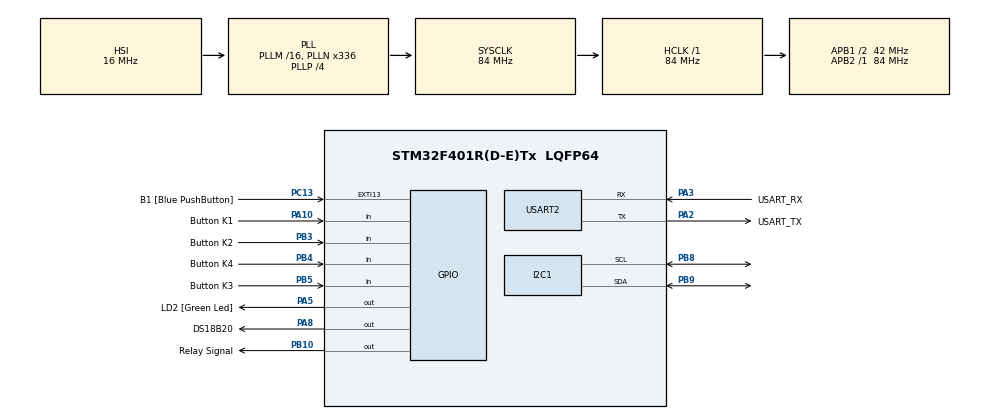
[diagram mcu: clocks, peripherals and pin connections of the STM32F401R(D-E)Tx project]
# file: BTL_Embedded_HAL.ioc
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I2C1.I2C_Mode=I2C_Standard
Mcu.Family=STM32F4
Mcu.Name=STM32F401R(D-E)Tx
Mcu.Package=LQFP64
NVIC.PriorityGroup=NVIC_PRIORITYGROUP_4
PA10.GPIO_Label=Button K1
PA10.Signal=GPIO_Input
PA13.GPIO_Label=TMS
PA13.Signal=SYS_JTMS-SWDIO
PA14.GPIO_Label=TCK
PA14.Signal=SYS_JTCK-SWCLK
PA2.GPIO_Label=USART_TX
PA2.GPIO_Mode=GPIO_MODE_AF_PP
PA2.GPIO_PuPd=GPIO_NOPULL
PA2.GPIO_Speed=GPIO_SPEED_FREQ_LOW
PA2.Mode=Asynchronous
PA2.Signal=USART2_TX
PA3.GPIO_Label=USART_RX
PA3.GPIO_Mode=GPIO_MODE_AF_PP
PA3.GPIO_PuPd=GPIO_NOPULL
PA3.GPIO_Speed=GPIO_SPEED_FREQ_LOW
PA3.Mode=Asynchronous
PA3.Signal=USART2_RX
PA5.GPIO_Label=LD2 [Green Led]
PA5.GPIO_Mode=GPIO_MODE_OUTPUT_PP
PA5.GPIO_PuPd=GPIO_NOPULL
PA5.GPIO_Speed=GPIO_SPEED_FREQ_LOW
PA5.Signal=GPIO_Output
PA8.GPIO_Label=DS18B20
PA8.Signal=GPIO_Output
PB10.GPIO_Label=Relay Signal
PB10.GPIO_ModeDefaultOutputPP=GPIO_MODE_OUTPUT_OD
PB10.GPIO_PuPd=GPIO_NOPULL
PB10.GPIO_Speed=GPIO_SPEED_FREQ_HIGH
PB10.PinState=GPIO_PIN_SET
PB10.Signal=GPIO_Output
PB3.GPIO_Label=Button K2
PB3.Signal=GPIO_Input
PB4.GPIO_Label=Button K4
PB4.Signal=GPIO_Input
PB5.GPIO_Label=Button K3
PB5.Signal=GPIO_Input
PB8.Mode=I2C
PB8.Signal=I2C1_SCL
PB9.Mode=I2C
PB9.Signal=I2C1_SDA
PC13-ANTI_TAMP.GPIO_Label=B1 [Blue PushButton]
PC13-ANTI_TAMP.GPIO_ModeDefaultEXTI=GPIO_MODE_IT_FALLING
PC13-ANTI_TAMP.GPIO_PuPd=GPIO_NOPULL
PC13-ANTI_TAMP.Signal=GPXTI13
PC14-OSC32_IN.Signal=RCC_OSC32_IN
PC15-OSC32_OUT.Signal=RCC_OSC32_OUT
PH0\ -\ OSC_IN.Mode=HSE-External-Clock-Source
PH0\ -\ OSC_IN.Signal=RCC_OSC_IN
PH1\ -\ OSC_OUT.Mode=HSE-External-Clock-Source
PH1\ -\ OSC_OUT.Signal=RCC_OSC_OUT
ProjectManager.HeapSize=0x200
ProjectManager.StackSize=0x400
ProjectManager.TargetToolchain=STM32CubeIDE
RCC.48MHZClocksFreq_Value=48000000
RCC.AHBFreq_Value=84000000
RCC.APB1CLKDivider=RCC_HCLK_DIV2
RCC.APB1Freq_Value=42000000
RCC.APB1TimFreq_Value=84000000
RCC.APB2Freq_Value=84000000
RCC.APB2TimFreq_Value=84000000
RCC.CortexFreq_Value=84000000
RCC.HCLKFreq_Value=84000000
RCC.HSE_VALUE=8000000
RCC.HSI_VALUE=16000000
RCC.PLLN=336
RCC.PLLP=RCC_PLLP_DIV4
RCC.PLLQ=7
RCC.SYSCLKFreq_VALUE=84000000
RCC.SYSCLKSource=RCC_SYSCLKSOURCE_PLLCLK
RCC.VCOOutputFreq_Value=336000000
TIM1.AutoReloadPreload=TIM_AUTORELOAD_PRELOAD_DISABLE
TIM1.Period=0xffff-1
TIM1.Prescaler=84-1
USART2.VirtualMode=VM_ASYNC
VP_TIM1_VS_ClockSourceINT.Mode=Internal
board=NUCLEO-F401RE

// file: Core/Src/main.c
/* USER CODE BEGIN Header */
/**
  ******************************************************************************
  * @file           : main.c
  * @brief          : Main program body
  ******************************************************************************
  * @attention
  *
  * Copyright (c) 2025 STMicroelectronics.
  * All rights reserved.
  *
  * This software is licensed under terms that can be found in the LICENSE file
  * in the root directory of this software component.
  * If no LICENSE file comes with this software, it is provided AS-IS.
  *
  ******************************************************************************
  */
/* USER CODE END Header */
#include "main.h"
#include <stdio.h>
#include "i2c-lcd.h"
#include "stm32f4xx_hal_exti.h"

I2C_HandleTypeDef hi2c1;

TIM_HandleTypeDef htim1;

UART_HandleTypeDef huart2;

/* USER CODE BEGIN PV */
uint8_t Temp_byte1, Temp_byte2;
uint16_t TEMP;
uint16_t Temperature = 0;
uint8_t Presence = 0;
uint8_t ConfigFlag = 0;
uint8_t ClearFlag = 0; // 0: Not Clear Yet , 1: Already Clear
int16_t DesiredTemp = 32;   // nhiệt độ mong muốn, mặc định 32°C
/* USER CODE END PV */

void SystemClock_Config(void);
static void MX_GPIO_Init(void);
static void MX_USART2_UART_Init(void);
static void MX_I2C1_Init(void);
static void MX_TIM1_Init(void);
/* USER CODE BEGIN PFP */
void delay_us (uint16_t us);
void Set_Pin_Output (GPIO_TypeDef *GPIOx, uint16_t GPIO_Pin);
void Set_Pin_Input (GPIO_TypeDef *GPIOx, uint16_t GPIO_Pin);
uint8_t DS18B20_Start (void);
void DS18B20_Write (uint8_t data);
uint8_t DS18B20_Read (void);
void Display_Temp (uint16_t Temp);
/* USER CODE END PFP */

int main(void)
{

  /* MCU Configuration--------------------------------------------------------*/

  /* Reset of all peripherals, Initializes the Flash interface and the Systick. */
  HAL_Init();

  /* Configure the system clock */
  SystemClock_Config();

  /* Initialize all configured peripherals */
  MX_GPIO_Init();
  MX_USART2_UART_Init();
  MX_I2C1_Init();
  MX_TIM1_Init();
  /* USER CODE BEGIN 2 */
  HAL_TIM_Base_Start(&htim1);
  HD44780_Init(2);
  HD44780_Clear();
  HD44780_SetCursor(0,0);
  HD44780_PrintStr("INITIALISING>>>>");
  HAL_Delay(2000);
  HD44780_Clear();

  /* USER CODE END 2 */

  /* Infinite loop */
  /* USER CODE BEGIN WHILE */
  while (1)
  {
      if (ConfigFlag == 0) // Not in config mode
      {
          ClearFlag = 0;  // chuẩn bị cho lần vào config tiếp theo

          Presence = DS18B20_Start();
          DS18B20_Write(0xCC);  // skip ROM
          DS18B20_Write(0x44);  // convert t

          Presence = DS18B20_Start();
          DS18B20_Write(0xCC);  // skip ROM
          DS18B20_Write(0xBE);  // Read Scratch-pad

          Temp_byte1 = DS18B20_Read();
          Temp_byte2 = DS18B20_Read();
          TEMP = ((Temp_byte2 << 8))|Temp_byte1;
          Temperature = (float)TEMP/16.0;  // resolution is 0.0625

          HAL_Delay(500);
          Display_Temp(Temperature);

          // DÙNG NGƯỠNG DesiredTemp
          if (Temperature > DesiredTemp)
          {
              HAL_GPIO_WritePin(Relay_Signal_GPIO_Port, Relay_Signal_Pin, GPIO_PIN_RESET);
              HD44780_SetCursor(0,1);
              HD44780_PrintStr("Cooling Fan: ON ");
          }
          else
          {
              HAL_GPIO_WritePin(Relay_Signal_GPIO_Port, Relay_Signal_Pin, GPIO_PIN_SET);
              HD44780_SetCursor(0,1);
              HD44780_PrintStr("Cooling Fan: OFF");
          }
      }
      else   // CONFIG MODE
      {
          char buf[20];

          if (ClearFlag == 0)
          {
              HD44780_Clear();
              ClearFlag = 1;
          }

          // Dòng 1: tiêu đề
          HD44780_SetCursor(0,0);
          HD44780_PrintStr("Desired Temp");

          // Dòng 2: hiển thị giá trị đang set
          HD44780_SetCursor(0,1);
          sprintf(buf, "Set: %3d C   ", (int)DesiredTemp);
          HD44780_PrintStr(buf);

          // ======= XỬ LÝ NÚT K2: TĂNG =======
          if (HAL_GPIO_ReadPin(Button_K2_GPIO_Port, Button_K2_Pin) == GPIO_PIN_RESET)
          {
              if (DesiredTemp < 99)   // giới hạn trên, tuỳ bạn
                  DesiredTemp++;
              HAL_Delay(200);         // delay chống dội + tránh tăng quá nhanh
          }

          // ======= XỬ LÝ NÚT K3: GIẢM =======
          if (HAL_GPIO_ReadPin(Button_K3_GPIO_Port, Button_K3_Pin) == GPIO_PIN_RESET)
          {
              if (DesiredTemp > 0)    // giới hạn dưới
                  DesiredTemp--;
              HAL_Delay(200);
          }

          // ======= NÚT K4: XÁC NHẬN / THOÁT CONFIG =======
          if (HAL_GPIO_ReadPin(Button_K4_GPIO_Port, Button_K4_Pin) == GPIO_PIN_RESET)
          {
              ConfigFlag = 0;   // quay lại normal mode
              ClearFlag  = 0;   // để lần sau vào config sẽ clear lại
              HAL_Delay(200);
          }
      }
  }

  /* USER CODE END 3 */
}

void SystemClock_Config(void)
{
  RCC_OscInitTypeDef RCC_OscInitStruct = {0};
  RCC_ClkInitTypeDef RCC_ClkInitStruct = {0};

  /** Configure the main internal regulator output voltage
  */
  __HAL_RCC_PWR_CLK_ENABLE();
  __HAL_PWR_VOLTAGESCALING_CONFIG(PWR_REGULATOR_VOLTAGE_SCALE2);

  /** Initializes the RCC Oscillators according to the specified parameters
  * in the RCC_OscInitTypeDef structure.
  */
  RCC_OscInitStruct.OscillatorType = RCC_OSCILLATORTYPE_HSI;
  RCC_OscInitStruct.HSIState = RCC_HSI_ON;
  RCC_OscInitStruct.HSICalibrationValue = RCC_HSICALIBRATION_DEFAULT;
  RCC_OscInitStruct.PLL.PLLState = RCC_PLL_ON;
  RCC_OscInitStruct.PLL.PLLSource = RCC_PLLSOURCE_HSI;
  RCC_OscInitStruct.PLL.PLLM = 16;
  RCC_OscInitStruct.PLL.PLLN = 336;
  RCC_OscInitStruct.PLL.PLLP = RCC_PLLP_DIV4;
  RCC_OscInitStruct.PLL.PLLQ = 7;
  if (HAL_RCC_OscConfig(&RCC_OscInitStruct) != HAL_OK)
  {
    Error_Handler();
  }

  /** Initializes the CPU, AHB and APB buses clocks
  */
  RCC_ClkInitStruct.ClockType = RCC_CLOCKTYPE_HCLK|RCC_CLOCKTYPE_SYSCLK
                              |RCC_CLOCKTYPE_PCLK1|RCC_CLOCKTYPE_PCLK2;
  RCC_ClkInitStruct.SYSCLKSource = RCC_SYSCLKSOURCE_PLLCLK;
  RCC_ClkInitStruct.AHBCLKDivider = RCC_SYSCLK_DIV1;
  RCC_ClkInitStruct.APB1CLKDivider = RCC_HCLK_DIV2;
  RCC_ClkInitStruct.APB2CLKDivider = RCC_HCLK_DIV1;

  if (HAL_RCC_ClockConfig(&RCC_ClkInitStruct, FLASH_LATENCY_2) != HAL_OK)
  {
    Error_Handler();
  }
}

static void MX_I2C1_Init(void)
{

  hi2c1.Instance = I2C1;
  hi2c1.Init.ClockSpeed = 100000;
  hi2c1.Init.DutyCycle = I2C_DUTYCYCLE_2;
  hi2c1.Init.OwnAddress1 = 0;
  hi2c1.Init.AddressingMode = I2C_ADDRESSINGMODE_7BIT;
  hi2c1.Init.DualAddressMode = I2C_DUALADDRESS_DISABLE;
  hi2c1.Init.OwnAddress2 = 0;
  hi2c1.Init.GeneralCallMode = I2C_GENERALCALL_DISABLE;
  hi2c1.Init.NoStretchMode = I2C_NOSTRETCH_DISABLE;
  if (HAL_I2C_Init(&hi2c1) != HAL_OK)
  {
    Error_Handler();
  }

}

static void MX_TIM1_Init(void)
{

  TIM_ClockConfigTypeDef sClockSourceConfig = {0};
  TIM_MasterConfigTypeDef sMasterConfig = {0};

  htim1.Instance = TIM1;
  htim1.Init.Prescaler = 84-1;
  htim1.Init.CounterMode = TIM_COUNTERMODE_UP;
  htim1.Init.Period = 0xffff-1;
  htim1.Init.ClockDivision = TIM_CLOCKDIVISION_DIV1;
  htim1.Init.RepetitionCounter = 0;
  htim1.Init.AutoReloadPreload = TIM_AUTORELOAD_PRELOAD_DISABLE;
  if (HAL_TIM_Base_Init(&htim1) != HAL_OK)
  {
    Error_Handler();
  }
  sClockSourceConfig.ClockSource = TIM_CLOCKSOURCE_INTERNAL;
  if (HAL_TIM_ConfigClockSource(&htim1, &sClockSourceConfig) != HAL_OK)
  {
    Error_Handler();
  }
  sMasterConfig.MasterOutputTrigger = TIM_TRGO_RESET;
  sMasterConfig.MasterSlaveMode = TIM_MASTERSLAVEMODE_DISABLE;
  if (HAL_TIMEx_MasterConfigSynchronization(&htim1, &sMasterConfig) != HAL_OK)
  {
    Error_Handler();
  }

}

static void MX_USART2_UART_Init(void)
{

  huart2.Instance = USART2;
  huart2.Init.BaudRate = 115200;
  huart2.Init.WordLength = UART_WORDLENGTH_8B;
  huart2.Init.StopBits = UART_STOPBITS_1;
  huart2.Init.Parity = UART_PARITY_NONE;
  huart2.Init.Mode = UART_MODE_TX_RX;
  huart2.Init.HwFlowCtl = UART_HWCONTROL_NONE;
  huart2.Init.OverSampling = UART_OVERSAMPLING_16;
  if (HAL_UART_Init(&huart2) != HAL_OK)
  {
    Error_Handler();
  }

}

static void MX_GPIO_Init(void)
{
  GPIO_InitTypeDef GPIO_InitStruct = {0};

  /* GPIO Ports Clock Enable */
  __HAL_RCC_GPIOC_CLK_ENABLE();
  __HAL_RCC_GPIOH_CLK_ENABLE();
  __HAL_RCC_GPIOA_CLK_ENABLE();
  __HAL_RCC_GPIOB_CLK_ENABLE();

  /*Configure GPIO pin Output Level */
  HAL_GPIO_WritePin(GPIOA, LD2_Pin|DS18B20_Pin, GPIO_PIN_SET);

  /*Configure GPIO pin Output Level */
  HAL_GPIO_WritePin(Relay_Signal_GPIO_Port, Relay_Signal_Pin, GPIO_PIN_SET);

  /*Configure GPIO pin : B1_Pin */
  GPIO_InitStruct.Pin = B1_Pin;
  GPIO_InitStruct.Mode = GPIO_MODE_IT_FALLING;
  GPIO_InitStruct.Pull = GPIO_NOPULL;
  HAL_GPIO_Init(B1_GPIO_Port, &GPIO_InitStruct);

  /*Configure GPIO pins : LD2_Pin DS18B20_Pin */
  GPIO_InitStruct.Pin = LD2_Pin|DS18B20_Pin;
  GPIO_InitStruct.Mode = GPIO_MODE_OUTPUT_PP;
  GPIO_InitStruct.Pull = GPIO_NOPULL;
  GPIO_InitStruct.Speed = GPIO_SPEED_FREQ_LOW;
  HAL_GPIO_Init(GPIOA, &GPIO_InitStruct);

  /*Configure GPIO pin : Relay_Signal_Pin */
  GPIO_InitStruct.Pin = Relay_Signal_Pin;
  GPIO_InitStruct.Mode = GPIO_MODE_OUTPUT_OD;
  GPIO_InitStruct.Pull = GPIO_NOPULL;
  GPIO_InitStruct.Speed = GPIO_SPEED_FREQ_HIGH;
  HAL_GPIO_Init(Relay_Signal_GPIO_Port, &GPIO_InitStruct);

  /*Configure GPIO pin : Button_K1_Pin */
  GPIO_InitStruct.Pin = Button_K1_Pin;
  GPIO_InitStruct.Mode = GPIO_MODE_IT_FALLING ;
  GPIO_InitStruct.Pull = GPIO_PULLUP;
  HAL_GPIO_Init(Button_K1_GPIO_Port, &GPIO_InitStruct);
  /* Cấu hình NVIC cho EXTI0 */
   HAL_NVIC_SetPriority(EXTI15_10_IRQn , 2, 0);
   HAL_NVIC_EnableIRQ( EXTI15_10_IRQn );
  /*Configure GPIO pins : Button_K2_Pin Button_K4_Pin Button_K3_Pin */
  GPIO_InitStruct.Pin = Button_K2_Pin|Button_K4_Pin|Button_K3_Pin;
  GPIO_InitStruct.Mode = GPIO_MODE_INPUT;
  GPIO_InitStruct.Pull = GPIO_PULLUP;
  HAL_GPIO_Init(GPIOB, &GPIO_InitStruct);

}

/* USER CODE BEGIN 4 */
void delay_us (uint16_t us)
{
	__HAL_TIM_SET_COUNTER(&htim1,0);  // set the counter value a 0
	while (__HAL_TIM_GET_COUNTER(&htim1) < us);  // wait for the counter to reach the us input in the parameter
}
void Set_Pin_Output (GPIO_TypeDef *GPIOx, uint16_t GPIO_Pin)
{
	GPIO_InitTypeDef GPIO_InitStruct = {0};
	GPIO_InitStruct.Pin = GPIO_Pin;
	GPIO_InitStruct.Mode = GPIO_MODE_OUTPUT_PP;
	GPIO_InitStruct.Speed = GPIO_SPEED_FREQ_LOW;
	HAL_GPIO_Init(GPIOx, &GPIO_InitStruct);
}

void Set_Pin_Input (GPIO_TypeDef *GPIOx, uint16_t GPIO_Pin)
{
	GPIO_InitTypeDef GPIO_InitStruct = {0};
	GPIO_InitStruct.Pin = GPIO_Pin;
	GPIO_InitStruct.Mode = GPIO_MODE_INPUT;
	GPIO_InitStruct.Pull = GPIO_NOPULL;
	HAL_GPIO_Init(GPIOx, &GPIO_InitStruct);
}
uint8_t DS18B20_Start (void)
{
	uint8_t Response = 0;
	Set_Pin_Output(DS18B20_GPIO_Port, DS18B20_Pin);   // set the pin as output
	HAL_GPIO_WritePin (DS18B20_GPIO_Port,DS18B20_Pin, 0);  // pull the pin low
	delay_us (480);   // delay according to datasheet
	Set_Pin_Input(DS18B20_GPIO_Port, DS18B20_Pin);    // set the pin as input
    delay_us (80);    // delay according to datasheet
    if (!(HAL_GPIO_ReadPin (DS18B20_GPIO_Port,  DS18B20_Pin)))
    	Response = 1;    // if the pin is low i.e the presence pulse is detected
    else
    	Response = -1;
    delay_us (400); // 480 us delay totally.
return Response;
}
void DS18B20_Write (uint8_t data)
{
	Set_Pin_Output(DS18B20_GPIO_Port, DS18B20_Pin);  // set as output

	for (int i=0; i<8; i++)
	{
		if ((data & (1<<i))!=0)  // if the bit is high
		{
			// write 1
			Set_Pin_Output(DS18B20_GPIO_Port, DS18B20_Pin);  // set as output
			HAL_GPIO_WritePin (DS18B20_GPIO_Port, DS18B20_Pin, 0);  // pull the pin LOW
			delay_us (1);  // wait for 1 us

			Set_Pin_Input(DS18B20_GPIO_Port, DS18B20_Pin);  // set as input
			delay_us (60);  // wait for 60 us
		}

		else  // if the bit is low
		{
			// write 0
			Set_Pin_Output(DS18B20_GPIO_Port, DS18B20_Pin);
			HAL_GPIO_WritePin (DS18B20_GPIO_Port, DS18B20_Pin, 0);  // pull the pin LOW
			delay_us (60);  // wait for 60 us

			Set_Pin_Input(DS18B20_GPIO_Port,DS18B20_Pin);
		}
	}
}
uint8_t DS18B20_Read (void)
{
	uint8_t value=0;
	Set_Pin_Input(DS18B20_GPIO_Port, DS18B20_Pin);  // set as input

	for (int i=0;i<8;i++)
	{
		Set_Pin_Output(DS18B20_GPIO_Port, DS18B20_Pin);  // set as output
		HAL_GPIO_WritePin (DS18B20_GPIO_Port, DS18B20_Pin, 0);  // pull the pin LOW
		delay_us (2);  // wait for 2 us
		Set_Pin_Input(DS18B20_GPIO_Port, DS18B20_Pin);  // set as input
		if (HAL_GPIO_ReadPin (DS18B20_GPIO_Port, DS18B20_Pin))  // if the pin is HIGH
		{
			value |= 1<<i;  // read = 1
		}
		delay_us (60);  // wait for 60 us
	}
	return value;
}
void Display_Temp (uint16_t Temp)
{
	char str[20] = {0};
    HD44780_SetCursor(0,0);
	sprintf(str, "TEMP: %d C   ", Temp);
	HD44780_PrintStr(str);
	//HD44780_PrintSpecialChar('C');
}
void HAL_GPIO_EXTI_Callback(uint16_t GPIO_Pin)
{
  if (GPIO_Pin == GPIO_PIN_10)
  {
    // Việc bạn muốn làm khi nhấn nút
    // ví dụ: đổi trạng thái LED
   ConfigFlag = 1;
  }
}

/* USER CODE END 4 */

void Error_Handler(void)
{
  __disable_irq();
  while (1)
  {
  }
}
